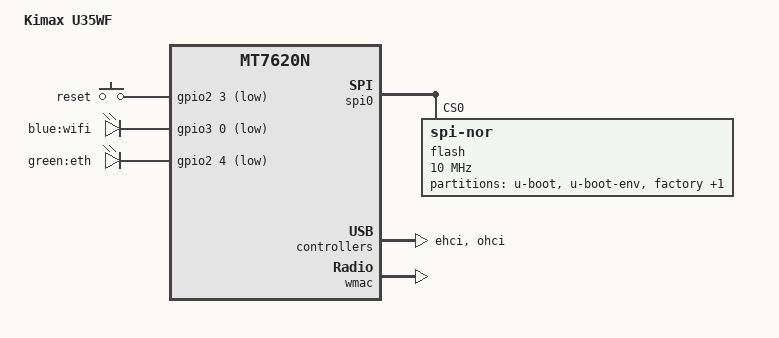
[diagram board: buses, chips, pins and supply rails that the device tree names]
#include "mt7620n.dtsi"

#include <dt-bindings/gpio/gpio.h>
#include <dt-bindings/input/input.h>

/ {
	compatible = "kimax,u35wf","ralink,mt7620n-soc";
	model = "Kimax U35WF";

	aliases {
		led-boot = &led_wifi;
		led-failsafe = &led_wifi;
		led-running = &led_wifi;
		led-upgrade = &led_wifi;
	};

	keys {
		compatible = "gpio-keys";

		reset {
			label = "reset";
			gpios = <&gpio2 3 GPIO_ACTIVE_LOW>;
			linux,code = <KEY_RESTART>;
		};
	};

	leds {
		compatible = "gpio-leds";

		led_wifi: wifi {
			label = "blue:wifi";
			gpios = <&gpio3 0 GPIO_ACTIVE_LOW>;
		};

		lan {
			label = "green:eth";
			gpios = <&gpio2 4 GPIO_ACTIVE_LOW>;
		};
	};
};

&gpio2 {
	status = "okay";
};

&gpio3 {
	status = "okay";
};

&spi0 {
	status = "okay";

	flash@0 {
		compatible = "jedec,spi-nor";
		reg = <0>;
		spi-max-frequency = <10000000>;

		partitions {
			compatible = "fixed-partitions";
			#address-cells = <1>;
			#size-cells = <1>;

			partition@0 {
				label = "u-boot";
				reg = <0x0 0x30000>;
				read-only;
			};

			partition@30000 {
				label = "u-boot-env";
				reg = <0x30000 0x10000>;
				read-only;
			};

			factory: partition@40000 {
				label = "factory";
				reg = <0x40000 0x10000>;
				read-only;
			};

			partition@50000 {
				compatible = "denx,uimage";
				label = "firmware";
				reg = <0x50000 0xfb0000>;
			};
		};
	};
};

&ehci {
	status = "okay";
};

&ohci {
	status = "okay";
};

&ethernet {
	nvmem-cells = <&macaddr_factory_4>;
	nvmem-cell-names = "mac-address";
};

&wmac {
	ralink,mtd-eeprom = <&factory 0x0>;
};

&state_default {
	default {
		groups = "ephy", "wled";
		function = "gpio";
	};
};

&factory {
	compatible = "nvmem-cells";
	#address-cells = <1>;
	#size-cells = <1>;

	macaddr_factory_4: macaddr@4 {
		reg = <0x4 0x6>;
	};
};
